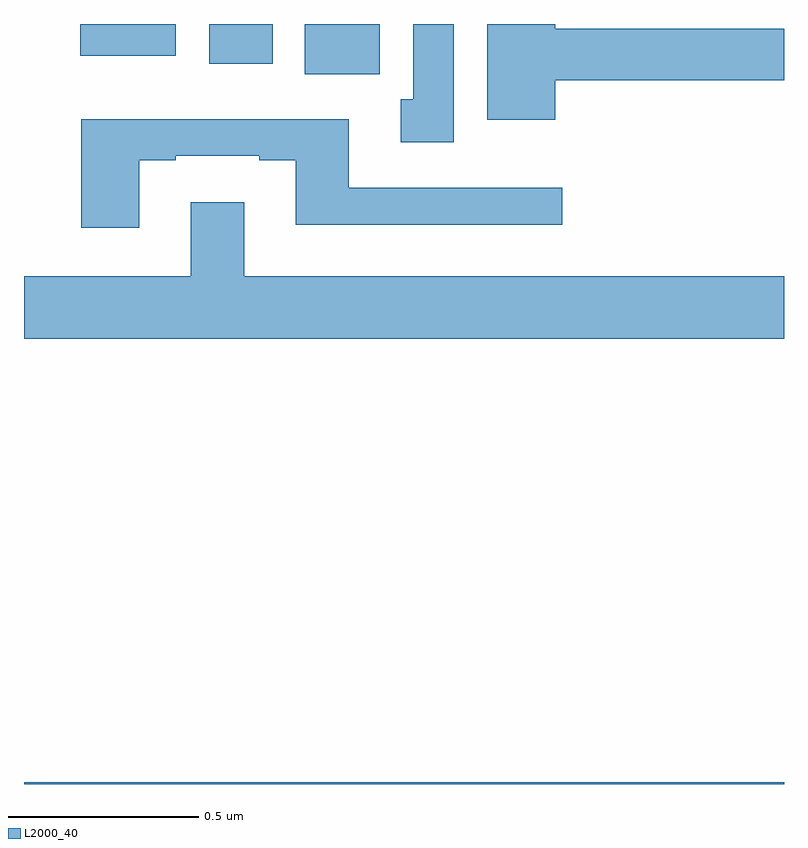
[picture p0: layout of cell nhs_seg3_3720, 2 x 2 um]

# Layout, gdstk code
import gdstk
lib = gdstk.Library(unit=1e-6, precision=1e-09)
def R(c, l, rs):  # rectangles x0, y0, x1, y1
    for r in rs: c.add(gdstk.rectangle(r[:2], r[2:], *l))
def P(c, l, *ps):  # polygons
    for p in ps: c.add(gdstk.Polygon(p, *l))
L2000_40 = (2000, 40)

nhs_seg3_3720 = lib.new_cell('nhs_seg3_3720')
R(nhs_seg3_3720, L2000_40, [(157,710.4,159,710.404), (157.739,712.268,157.936,712.4), (157.487,712.296,157.654,712.4), (157.148,712.316,157.399,712.4)])
P(nhs_seg3_3720, L2000_40, [(158.398,712.252),(159,712.252),(159,712.388),(158.398,712.388),(158.398,712.4),(158.219,712.4),(158.219,712.148),(158.398,712.148)],
  [(158.131,712.4),(158.024,712.4),(158.024,712.202),(157.991,712.202),(157.991,712.089),(158.131,712.089)],
  [(157.303,712.041),(157.399,712.041),(157.399,712.053),(157.619,712.053),(157.619,712.041),(157.715,712.041),(157.715,711.872),(158.416,711.872),(158.416,711.969),(157.855,711.969),(157.855,712.15),(157.151,712.15),(157.151,711.864),(157.303,711.864)],
  [(159,711.736),(157.579,711.736),(157.579,711.931),(157.439,711.931),(157.439,711.736),(157,711.736),(157,711.572),(159,711.572)])

lib.write_gds('nhs_seg3_3720.gds')
